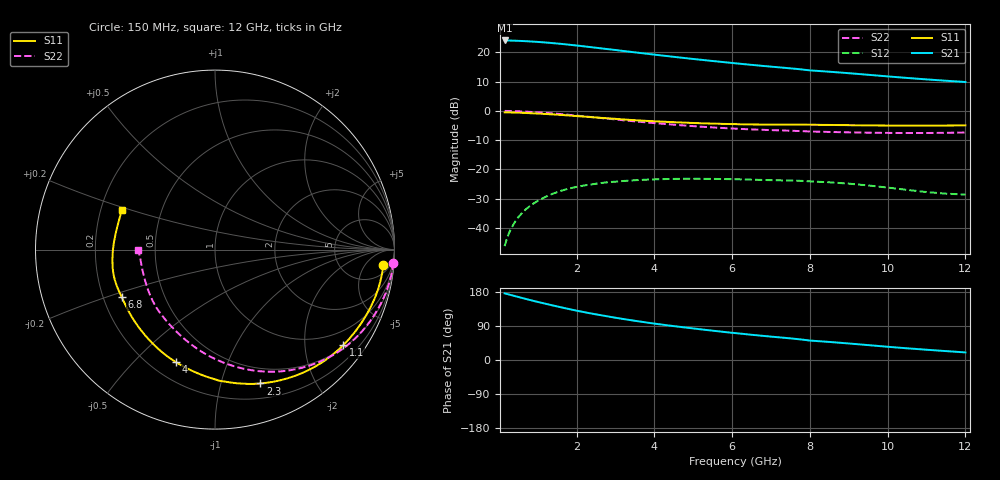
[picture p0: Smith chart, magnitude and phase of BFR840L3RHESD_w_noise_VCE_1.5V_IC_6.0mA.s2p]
! Infineon Technologies  Discrete & RF Semiconductors
! BFR840L3RHESD
! VCE =  1.5 V,  IC =  6.0 mA
! Common Emitter S-Parameters:  Jun 2012
# GHz  S  MA  R  50
!  f  S11  S21  S12  S22
! GHz  MAG  ANG  MAG  ANG  MAG  ANG  MAG  ANG
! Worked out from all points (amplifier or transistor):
!   91 points, 150 MHz to 12 GHz, reference 50 ohm
!   highest |S21| = 24.0 dB at 150 MHz (marker M1)
!   |S21| within 3 dB of that: start of sweep to 2.83 GHz
!   unconditionally stable (mu >= 1): 9.055 GHz to end of sweep
!   at 1.3 GHz: K = 0.09, MSG = 26.0 dB, |S12| = -28.8 dB
!   at 4.3 GHz: K = 0.32, MSG = 21.0 dB, |S12| = -23.3 dB
!   at 12 GHz: K = 2.30, MAG = 12.8 dB, |S12| = -28.6 dB
!   lowest NFmin = 0.53 dB at 450 MHz
!   S11 on the Smith chart (normalised r, x): 150 MHz: 10, -15; 1.1 GHz: 0.57, -2.93; 2.3 GHz: 0.34, -1.34; 4 GHz: 0.30, -0.67; 6.8 GHz: 0.28, -0.22; 12 GHz: 0.29, +0.19
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0.15  0.9414 -5.3  15.89 175.8  0.0049 85.4  0.9967 -4.2
0.35  0.9366 -12.3  15.78 170.5  0.0107 81.2  0.9899 -10.0
0.6  0.9242 -20.5  15.55 163.7  0.0181 73.8  0.975 -16.9
0.9  0.9052 -30.2  15.16 155.8  0.0264 68.3  0.9519 -24.8
1.1  0.8913 -36.6  14.84 150.9  0.0315 65.0  0.9339 -30.0
1.4  0.8683 -45.8  14.29 143.7  0.0387 59.5  0.9027 -37.5
1.7  0.8423 -54.7  13.67 136.8  0.0451 53.6  0.8673 -44.6
2  0.8146 -63.2  13.03 130.2  0.0503 48.0  0.8298 -51.5
2.2  0.7963 -68.7  12.59 126.2  0.0532 44.8  0.8049 -55.8
2.3  0.7874 -71.3  12.37 124.2  0.0545 43.3  0.7926 -57.9
2.8  0.7451 -83.4  11.31 115.1  0.0605 37.3  0.7347 -67.6
3.2  0.7132 -92.7  10.52 108.2  0.0635 31.3  0.6906 -75.1
3.6  0.6859 -101.2  9.782 102.0  0.066 26.7  0.6516 -81.9
4  0.6638 -109.1  9.108 96.1  0.0677 22.7  0.6175 -88.4
4.2  0.6542 -112.9  8.792 93.4  0.0683 20.9  0.602 -91.4
5.1  0.6171 -128.7  7.555 82.1  0.0692 13.6  0.5421 -104.7
6.1  0.5921 -143.8  6.465 70.8  0.068 7.1  0.4956 -118.3
6.8  0.5832 -153.2  5.836 63.6  0.0661 3.3  0.4739 -127.3
8  0.5792 -169.8  4.9 51.3  0.0626 -3.4  0.4439 -143.8
8.5  0.5743 -174.5  4.654 47.7  0.0603 -5.5  0.4362 -148.4
10.5  0.5591 166.8  3.642 30.9  0.0448 -9.4  0.4186 -168.1
12  0.5645 156.8  3.106 20.0  0.0372 1.2  0.4265 -179.5
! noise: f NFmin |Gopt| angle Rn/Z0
0.45  0.53  0.47  6  0.18
0.9  0.57  0.47  11  0.18
1.9  0.6  0.48  29  0.17
3.5  0.62  0.48  47  0.15
4  0.64  0.47  55  0.15
5.5  0.68  0.47  70  0.13
7  0.75  0.46  91  0.12
8  0.81  0.43  100  0.11
10  0.94  0.39  123  0.1
12  1.11  0.33  153  0.09
